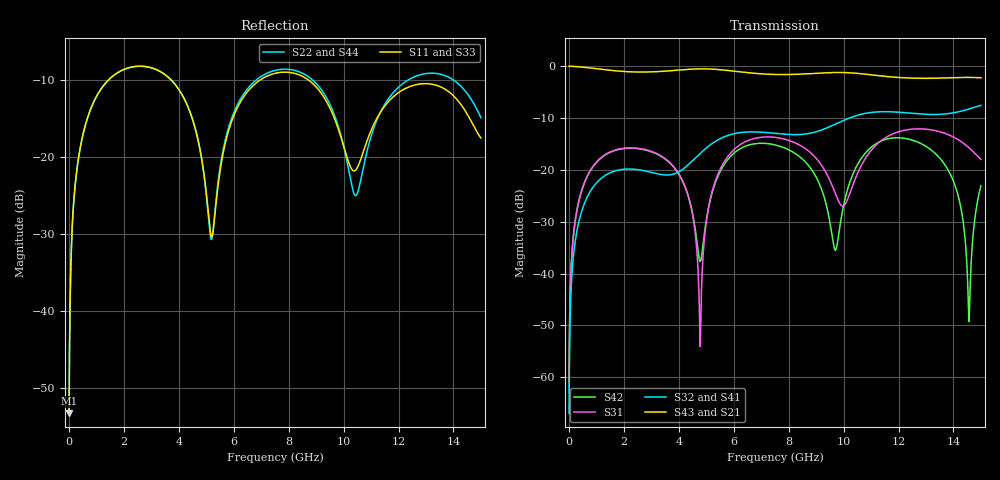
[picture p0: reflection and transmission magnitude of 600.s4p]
! Created with skrf 1.8.0 (http://scikit-rf.org).
# GHz S RI R 50.0
!freq ReS11 ImS11 ReS12 ImS12 ReS13 ImS13
! ReS14 ImS14
! ReS21 ImS21 ReS22 ImS22 ReS23 ImS23
! ReS24 ImS24
! ReS31 ImS31 ReS32 ImS32 ReS33 ImS33
! ReS34 ImS34
! ReS41 ImS41 ReS42 ImS42 ReS43 ImS43
! ReS44 ImS44
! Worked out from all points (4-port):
!   2499 points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, 5 MHz to 15 GHz, reference 50 ohm
!   strongest paths, dB at 5 MHz, 3.476 GHz, 7.19 GHz, 11.1 GHz, 15 GHz:
!     S43: 0.0, -1.0, -1.6, -1.7, -2.2
!     S21: 0.0, -1.0, -1.6, -1.7, -2.2
!     S32: -66.9, -21.0, -12.8, -8.9, -7.6
!     S41: -66.9, -21.0, -12.9, -8.9, -7.6
!     S31: -62.9, -17.7, -13.7, -15.7, -18.0
!     S42: -62.9, -17.8, -14.9, -15.3, -23.1
!   lowest |S11| = -53.3 dB at 5 MHz (marker M1), VSWR 1.00, Z = 50.2 + j0.131 ohm
!   |S11| at or under -10 dB: start of sweep to 1.428 GHz; 3.732 GHz to 6.946 GHz (3.214 GHz wide, 60.2 % of centre); 8.736 GHz to end of sweep
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0.005  0.00173 0.00131  0.9982 -0.00336  8.79e-05 0.000712  -8.52e-05 -0.000442
       0.9982 -0.00336  0.00173 0.00131  -8.52e-05 -0.000442  8.79e-05 0.000712
       8.79e-05 0.000712  -8.52e-05 -0.000442  0.00173 0.00131  0.9982 -0.00336
       -8.52e-05 -0.000442  8.79e-05 0.000712  0.9982 -0.00336  0.00173 0.00131
1.569404  0.2878 0.1687  0.5066 -0.7525  0.1404 0.0564  -0.0952 0.00117
          0.5066 -0.7525  0.2886 0.1681  -0.0954 0.00137  0.1382 0.0596
          0.1404 0.0564  -0.0954 0.00137  0.2878 0.1688  0.5065 -0.7525
          -0.0952 0.00117  0.1382 0.0596  0.5065 -0.7525  0.2887 0.168
4.77699  0.0541 -0.0977  -0.8859 -0.314  -0.00197 -0.000245  -0.0451 0.1367
         -0.8859 -0.314  0.052 -0.0967  -0.0427 0.1375  -0.0129 -0.00256
         -0.00197 -0.000245  -0.0427 0.1375  0.0543 -0.0982  -0.8859 -0.314
         -0.0451 0.1367  -0.0129 -0.00256  -0.8859 -0.314  0.0521 -0.0973
6.090038  0.1381 0.1479  -0.7855 0.4153  0.135 0.0925  0.1353 0.1793
          -0.7855 0.4153  0.1454 0.1536  0.1386 0.1776  0.1019 0.1111
          0.135 0.0925  0.1386 0.1776  0.1366 0.1472  -0.7856 0.4154
          0.1353 0.1793  0.1019 0.1111  -0.7856 0.4154  0.1461 0.153
10.46061  0.0829 0.00817  0.8455 0.1127  -0.000134 0.0864  0.0392 -0.3308
          0.8455 0.1127  0.0566 -0.000439  0.0279 -0.3318  0.00663 0.1064
          -0.000134 0.0864  0.0279 -0.3318  0.0855 0.0116  0.8457 0.11
          0.0392 -0.3308  0.00663 0.1064  0.8457 0.11  0.0534 0.0046
14.56857  0.1684 -0.0686  -0.4734 -0.6212  -0.0735 -0.1456  -0.3058 0.2335
          -0.4734 -0.6212  0.2001 -0.1497  -0.2928 0.2515  0.00291 0.00186
          -0.0735 -0.1456  -0.2928 0.2515  0.1849 -0.0657  -0.4712 -0.6189
          -0.3058 0.2335  0.00291 0.00186  -0.4712 -0.6189  0.2044 -0.1626
15  0.1314 -0.0234  -0.6179 -0.4668  -0.1118 -0.0579  -0.2611 0.3267
    -0.6179 -0.4668  0.1356 -0.1198  -0.2421 0.341  -0.013 0.069
    -0.1118 -0.0579  -0.2421 0.341  0.1499 -0.0263  -0.6154 -0.4661
    -0.2611 0.3267  -0.013 0.069  -0.6154 -0.4661  0.1356 -0.1327
